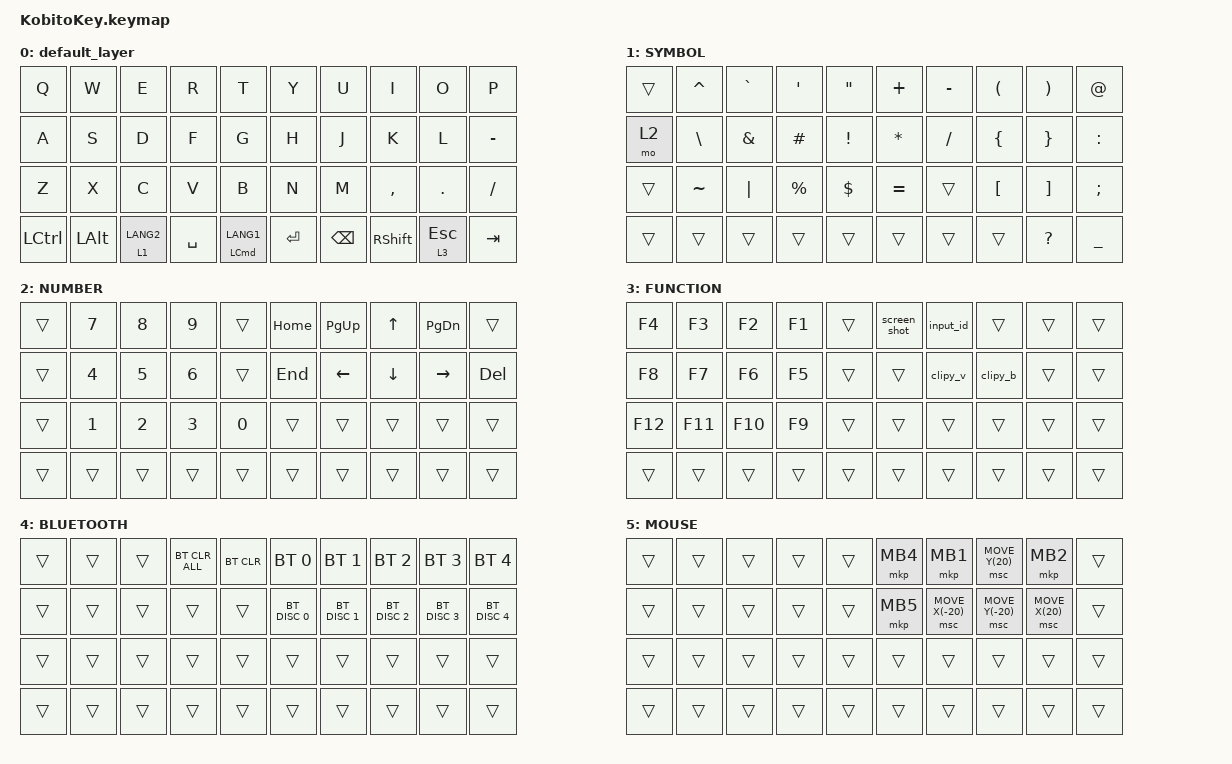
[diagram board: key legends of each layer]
#include <input/processors.dtsi>
#include <behaviors.dtsi>
#include <dt-bindings/zmk/bt.h>
#include <dt-bindings/zmk/keys.h>
#include <dt-bindings/zmk/pointing.h>

/ {
    combos {
        compatible = "zmk,combos";

        cl_bt {
            bindings = <&mo 4>;
            key-positions = <32 37>;
        };

        ck_shift {
            bindings = <&kp LSHIFT>;
            key-positions = <30 31>;
        };
    };

    macros {
        clipy_b: clipy_b {
            compatible = "zmk,behavior-macro";
            #binding-cells = <0>;
            bindings =
                <&macro_press>,
                <&kp LCMD &kp LSHIFT>,
                <&macro_tap>,
                <&kp B>,
                <&macro_release>,
                <&kp LCMD &kp LSHIFT>;

            label = "CLIPY_B";
        };

        clipy_v: clipy_v {
            compatible = "zmk,behavior-macro";
            #binding-cells = <0>;
            bindings =
                <&macro_press>,
                <&kp LCMD &kp LSHFT>,
                <&macro_tap>,
                <&kp V>,
                <&macro_release>,
                <&kp LCMD &kp LSHIFT>;

            label = "CLIPY_V";
        };

        screen_shot: screen_shot {
            compatible = "zmk,behavior-macro";
            #binding-cells = <0>;
            bindings =
                <&macro_press>,
                <&kp LCMD &kp LSHFT>,
                <&macro_tap>,
                <&kp N4>,
                <&macro_release>,
                <&kp LCMD &kp LSHIFT>;

            label = "SCREEN_SHOT";
        };

        input_id: input_id {
            compatible = "zmk,behavior-macro";
            #binding-cells = <0>;
            bindings = <&kp LS(J) &kp LS(R) &kp LS(Z) &kp N1 &kp N1 &kp N5 &kp N2>;
            label = "INPUT_ID";
        };
    };

    keymap {
        compatible = "zmk,keymap";

        default_layer {
            bindings = <
&kp Q      &kp W         &kp E        &kp R      &kp T           &kp Y      &kp U          &kp I       &kp O         &kp P
&kp A      &kp S         &kp D        &kp F      &kp G           &kp H      &kp J          &kp K       &kp L         &kp MINUS
&kp Z      &kp X         &kp C        &kp V      &kp B           &kp N      &kp M          &kp COMMA   &kp DOT       &kp SLASH
&kp LCTRL  &kp LEFT_ALT  &lt 1 LANG2  &kp SPACE  &mt LCMD LANG1  &kp ENTER  &kp BACKSPACE  &kp RSHIFT  &lt 3 ESCAPE  &kp TAB
            >;
        };

        layer1 {
            bindings = <
&trans  &kp CARET      &kp GRAVE      &kp SINGLE_QUOTE  &kp DOUBLE_QUOTES  &kp PLUS      &kp MINUS  &kp LEFT_PARENTHESIS  &kp RIGHT_PARENTHESIS  &kp AT_SIGN
&mo 2   &kp BACKSLASH  &kp AMPERSAND  &kp HASH          &kp EXCLAMATION    &kp ASTERISK  &kp SLASH  &kp LEFT_BRACE        &kp RIGHT_BRACE        &kp COLON
&trans  &kp TILDE      &kp PIPE       &kp PERCENT       &kp DOLLAR         &kp EQUAL     &trans     &kp LEFT_BRACKET      &kp RIGHT_BRACKET      &kp SEMICOLON
&trans  &trans         &trans         &trans            &trans             &trans        &trans     &trans                &kp QUESTION           &kp UNDERSCORE
            >;

            label = "SYMBOL";
        };

        layer2 {
            label = "NUMBER";
            bindings = <
&trans  &kp N7  &kp N8  &kp N9  &trans  &kp HOME  &kp PAGE_UP  &kp UP    &kp PAGE_DOWN  &trans
&trans  &kp N4  &kp N5  &kp N6  &trans  &kp END   &kp LEFT     &kp DOWN  &kp RIGHT      &kp DELETE
&trans  &kp N1  &kp N2  &kp N3  &kp N0  &trans    &trans       &trans    &trans         &trans
&trans  &trans  &trans  &trans  &trans  &trans    &trans       &trans    &trans         &trans
            >;
        };

        layer3 {
            label = "FUNCTION";
            bindings = <
&kp F4   &kp F3   &kp F2   &kp F1  &trans  &screen_shot  &input_id  &trans    &trans  &trans
&kp F8   &kp F7   &kp F6   &kp F5  &trans  &trans        &clipy_v   &clipy_b  &trans  &trans
&kp F12  &kp F11  &kp F10  &kp F9  &trans  &trans        &trans     &trans    &trans  &trans
&trans   &trans   &trans   &trans  &trans  &trans        &trans     &trans    &trans  &trans
            >;
        };

        layer4 {
            label = "BLUETOOTH";
            bindings = <
&trans  &trans  &trans  &bt BT_CLR_ALL  &bt BT_CLR  &bt BT_SEL 0   &bt BT_SEL 1   &bt BT_SEL 2   &bt BT_SEL 3   &bt BT_SEL 4
&trans  &trans  &trans  &trans          &trans      &bt BT_DISC 0  &bt BT_DISC 1  &bt BT_DISC 2  &bt BT_DISC 3  &bt BT_DISC 4
&trans  &trans  &trans  &trans          &trans      &trans         &trans         &trans         &trans         &trans
&trans  &trans  &trans  &trans          &trans      &trans         &trans         &trans         &trans         &trans
            >;
        };

        layer5 {
            label = "MOUSE";
            bindings = <
&trans  &trans  &trans  &trans  &trans  &mkp MB4  &mkp MB1          &msc MOVE_Y(20)   &mkp MB2         &trans
&trans  &trans  &trans  &trans  &trans  &mkp MB5  &msc MOVE_X(-20)  &msc MOVE_Y(-20)  &msc MOVE_X(20)  &trans
&trans  &trans  &trans  &trans  &trans  &trans    &trans            &trans            &trans           &trans
&trans  &trans  &trans  &trans  &trans  &trans    &trans            &trans            &trans           &trans
            >;
        };
    };
};
